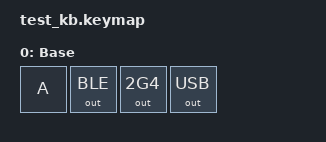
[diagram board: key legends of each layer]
#include <behaviors.dtsi>
#include <dt-bindings/zmk/keys.h>
#include <dt-bindings/zmk/bt.h>
#include <dt-bindings/zmk/outputs.h>

/ {
    keymap {
        compatible = "zmk,keymap";

        default_layer {
            display-name = "Base";
            bindings = <
                &kp A  &out OUT_BLE  &out OUT_2G4  &out OUT_USB
            >;
        };
    };
};
